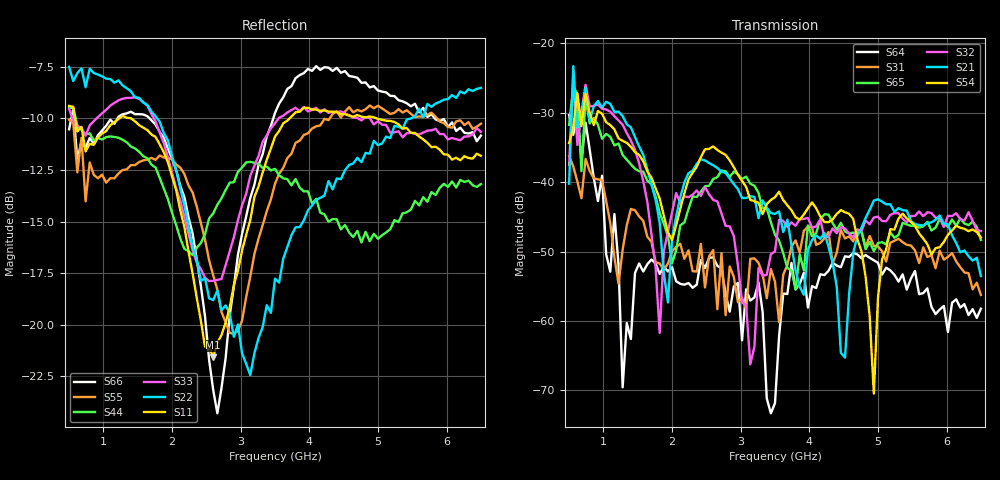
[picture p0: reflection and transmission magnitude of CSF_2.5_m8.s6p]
!Keysight Technologies,M9804A,MY58100912,A.14.10.03
!Date: Thursday, April 27, 2023 10:28:33
!Correction: S11(C  6-Port  )
!S12(C  6-Port  )
!S13(C  6-Port  )
!S14(C  6-Port  )
!S15(C  6-Port  )
!S16(C  6-Port  )
!S21(C  6-Port  )
!S22(C  6-Port  )
!S23(C  6-Port  )
!S24(C  6-Port  )
!S25(C  6-Port  )
!S26(C  6-Port  )
!S31(C  6-Port  )
!S32(C  6-Port  )
!S33(C  6-Port  )
!S34(C  6-Port  )
!S35(C  6-Port  )
!S36(C  6-Port  )
!S41(C  6-Port  )
!S42(C  6-Port  )
!S43(C  6-Port  )
!S44(C  6-Port  )
!S45(C  6-Port  )
!S46(C  6-Port  )
!S51(C  6-Port  )
!S52(C  6-Port  )
!S53(C  6-Port  )
!S54(C  6-Port  )
!S55(C  6-Port  )
!S56(C  6-Port  )
!S61(C  6-Port  )
!S62(C  6-Port  )
!S63(C  6-Port  )
!S64(C  6-Port  )
!S65(C  6-Port  )
!S66(C  6-Port  )
!S6P File: Measurement: :
# Hz S  RI  R 50
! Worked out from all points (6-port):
!   101 points, 500 MHz to 6.5 GHz, reference 50 ohm
!   strongest paths, dB at 500 MHz, 2 GHz, 3.5 GHz, 5 GHz, 6.5 GHz:
!     S54: -34.4, -48.3, -42.2, -56.7, -48.0
!     S21: -40.2, -48.1, -44.6, -42.5, -53.5
!     S32: -37.5, -44.4, -50.0, -45.0, -47.0
!     S65: -31.7, -51.6, -47.6, -48.8, -48.3
!     S31: -36.2, -49.9, -54.4, -49.2, -56.3
!     S64: -30.3, -52.3, -71.8, -51.6, -58.2
!   lowest |S11| = -21.6 dB at 2.6 GHz (marker M1), VSWR 1.18, Z = 42.5 + j2.03 ohm
!   |S11| at or under -10 dB: 587.8 MHz to 1.236 GHz (647.9 MHz wide, 71.1 % of centre); 1.397 GHz to 3.715 GHz (2.318 GHz wide, 90.7 % of centre); 4.974 GHz to end of sweep
